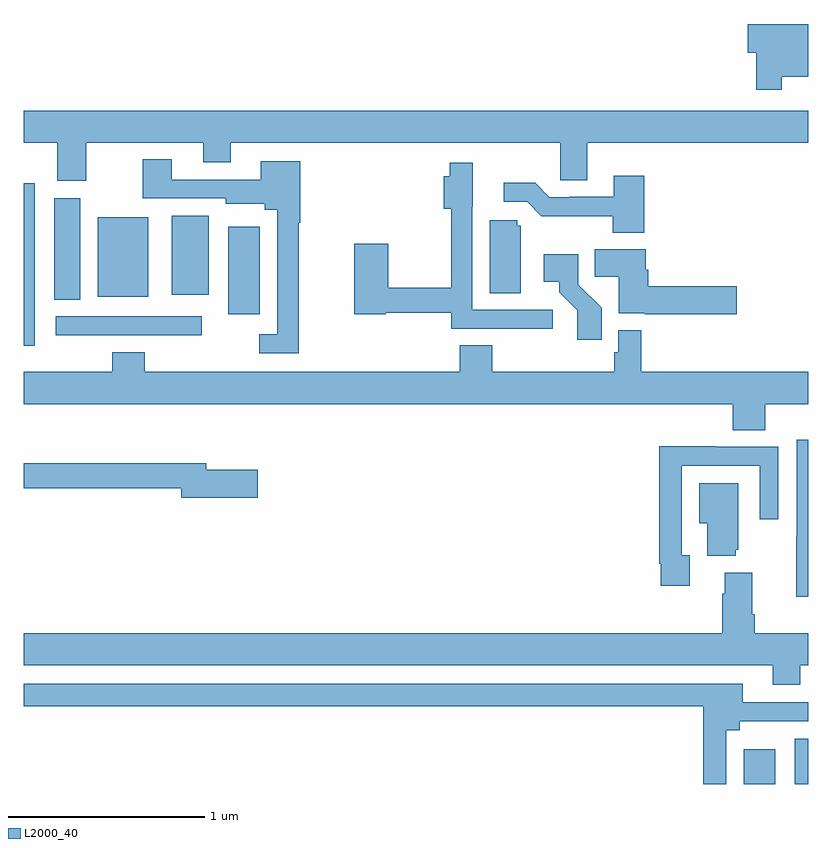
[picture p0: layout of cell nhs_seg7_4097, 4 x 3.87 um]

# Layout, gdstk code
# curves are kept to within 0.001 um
import gdstk
lib = gdstk.Library(unit=1e-6, precision=1e-09)
def R(c, l, rs):  # rectangles x0, y0, x1, y1
    for r in rs: c.add(gdstk.rectangle(r[:2], r[2:], *l))
def P(c, l, *ps):  # polygons
    for p in ps: c.add(gdstk.Polygon(p, *l))
L2000_40 = (2000, 40)

nhs_seg7_4097 = lib.new_cell('nhs_seg7_4097')
R(nhs_seg7_4097, L2000_40, [(374.669,1012,374.83,1012.177), (374.93,1012,375,1012.231), (371,1014.233,371.056,1015.061), (371.163,1014.288,371.908,1014.384), (372.044,1014.393,372.205,1014.841), (371.156,1014.469,371.29,1014.985), (371.378,1014.482,371.635,1014.889), (371.756,1014.494,371.944,1014.895)])
P(nhs_seg7_4097, L2000_40, [(374.863,1015.604),(375,1015.604),(375,1015.873),(374.69,1015.873),(374.69,1015.726),(374.734,1015.726),(374.734,1015.539),(374.863,1015.539)],
  [(371.319,1015.268),(371.915,1015.268),(371.915,1015.169),(372.055,1015.169),(372.055,1015.268),(373.734,1015.268),(373.734,1015.078),(373.873,1015.078),(373.873,1015.268),(375,1015.268),(375,1015.432),(371,1015.432),(371,1015.268),(371.171,1015.268),(371.171,1015.074),(371.319,1015.074)],
  [(372.403,1014.86),(372.41,1014.86),(372.41,1015.174),(372.209,1015.174),(372.209,1015.08),(371.755,1015.08),(371.755,1015.183),(371.608,1015.183),(371.608,1014.984),(372.03,1014.984),(372.03,1014.956),(372.228,1014.956),(372.228,1014.926),(372.294,1014.926),(372.294,1014.291),(372.201,1014.291),(372.201,1014.195),(372.403,1014.195)],
  [(373.696,1014.417),(373.287,1014.417),(373.287,1014.942),(373.288,1014.942),(373.288,1015.165),(373.171,1015.165),(373.171,1015.096),(373.142,1015.096),(373.142,1014.931),(373.179,1014.931),(373.179,1014.53),(372.858,1014.53),(372.858,1014.754),(372.685,1014.754),(372.685,1014.394),(372.846,1014.394),(372.846,1014.402),(373.179,1014.402),(373.179,1014.321),(373.471,1014.321),(373.471,1014.319),(373.696,1014.319)],
  [(374.162,1015.099),(374.009,1015.099),(374.009,1014.993),(373.78,1014.993),(373.78,1014.99),(373.68,1014.99),(373.607,1015.063),(373.446,1015.063),(373.446,1014.966),(373.566,1014.966),(373.639,1014.893),(374.002,1014.894),(374.002,1014.809),(374.162,1014.809)],
  [(373.534,1014.846),(373.515,1014.846),(373.515,1014.873),(373.376,1014.873),(373.376,1014.502),(373.534,1014.502)],
  [(374.635,1014.536),(374.183,1014.536),(374.183,1014.62),(374.17,1014.62),(374.17,1014.724),(373.912,1014.724),(373.912,1014.586),(374.033,1014.586),(374.033,1014.398),(374.166,1014.398),(374.166,1014.394),(374.635,1014.394)],
  [(373.946,1014.426),(373.827,1014.545),(373.827,1014.7),(373.65,1014.7),(373.65,1014.56),(373.73,1014.56),(373.73,1014.505),(373.821,1014.415),(373.821,1014.264),(373.946,1014.264)],
  [(374.78,1013.936),(375,1013.936),(375,1014.1),(374.147,1014.1),(374.147,1014.313),(374.031,1014.313),(374.031,1014.201),(374.011,1014.201),(374.011,1014.1),(373.388,1014.1),(373.388,1014.236),(373.223,1014.236),(373.223,1014.1),(371.618,1014.1),(371.618,1014.199),(371.453,1014.199),(371.453,1014.1),(371,1014.1),(371,1013.936),(374.615,1013.936),(374.615,1013.803),(374.78,1013.803)],
  [(375,1013.755),(374.94,1013.755),(374.94,1013.261),(374.938,1013.261),(374.938,1012.955),(375,1012.955)],
  [(374.395,1013.166),(374.355,1013.166),(374.355,1013.622),(374.751,1013.622),(374.751,1013.349),(374.847,1013.349),(374.847,1013.718),(374.531,1013.718),(374.531,1013.72),(374.239,1013.72),(374.239,1013.122),(374.247,1013.122),(374.247,1013.01),(374.395,1013.01)],
  [(372.193,1013.601),(371.932,1013.601),(371.932,1013.635),(371,1013.635),(371,1013.506),(371.804,1013.506),(371.804,1013.459),(372.193,1013.459)],
  [(374.63,1013.193),(374.641,1013.193),(374.641,1013.533),(374.444,1013.533),(374.444,1013.33),(374.483,1013.33),(374.483,1013.162),(374.63,1013.162)],
  [(374.959,1012.604),(375,1012.604),(375,1012.768),(374.726,1012.768),(374.726,1012.864),(374.713,1012.864),(374.713,1013.077),(374.573,1013.077),(374.573,1012.97),(374.561,1012.97),(374.561,1012.768),(371,1012.768),(371,1012.604),(374.819,1012.604),(374.819,1012.505),(374.959,1012.505)],
  [(374.58,1012.274),(374.65,1012.274),(374.65,1012.32),(375,1012.32),(375,1012.416),(374.665,1012.416),(374.665,1012.512),(371,1012.512),(371,1012.396),(374.464,1012.396),(374.464,1012),(374.58,1012)])

lib.write_gds('nhs_seg7_4097.gds')
